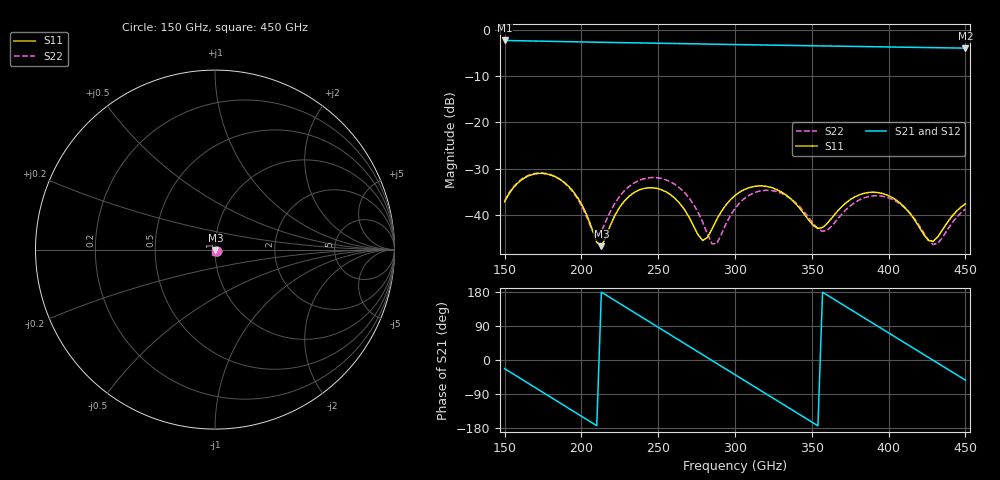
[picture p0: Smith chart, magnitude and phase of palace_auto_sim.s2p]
#  GHZ S DB R 50
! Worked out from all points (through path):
!   101 points, 150 GHz to 450 GHz, reference 50 ohm
!   highest |S21| = -2.31 dB at 150 GHz (marker M1); lowest = -4.0 dB at 450 GHz (marker M2)
!   group delay of S21, straight-line fit = 6.95 ps
!   lowest |S11| = -46.8 dB at 213 GHz (marker M3), VSWR 1.01, Z = 50.2 - j0.416 ohm
!   |S11| at or under -10 dB: start of sweep to end of sweep
!   |S22| runs from -46.4 to -30.9 dB; largest |S21 - S12| = 1.2e-13
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150  -37.15 -22.9  -2.31 -22.8  -2.31 -22.8  -36.96 -23.5
162  -32.21 -41.4  -2.39 -52.9  -2.39 -52.9  -32.07 -41.7
177  -31.13 -72.9  -2.49 -90.6  -2.49 -90.6  -31.05 -72.7
189  -33.03 -97.5  -2.56 -120.7  -2.56 -120.7  -33.09 -96.3
201  -38.25 -114.9  -2.64 -150.8  -2.64 -150.8  -38.67 -108.9
210  -45.90 -93.5  -2.69 -173.4  -2.69 -173.4  -44.64 -71.5
213  -46.76 -64.6  -2.71 179.1  -2.71 179.1  -43.59 -48.7
231  -36.00 -40.1  -2.81 134.0  -2.81 134.0  -33.87 -43.7
252  -34.55 -79.2  -2.93 81.3  -2.93 81.3  -32.12 -85.1
267  -38.83 -100.7  -3.01 43.8  -3.01 43.8  -35.12 -113.8
279  -45.53 -69.9  -3.08 13.8  -3.08 13.8  -41.61 -122.3
288  -41.07 -31.9  -3.13 -8.8  -3.13 -8.8  -46.27 -71.5
300  -35.81 -40.8  -3.20 -38.7  -3.20 -38.7  -38.61 -47.4
312  -33.88 -61.9  -3.26 -68.7  -3.26 -68.7  -35.28 -65.2
324  -34.13 -83.9  -3.32 -98.7  -3.32 -98.7  -34.76 -86.9
351  -42.28 -95.1  -3.46 -166.2  -3.46 -166.2  -41.88 -109.6
360  -41.87 -64.3  -3.51 171.3  -3.51 171.3  -43.33 -80.3
381  -35.65 -72.3  -3.62 118.9  -3.62 118.9  -36.76 -76.2
402  -36.19 -108.4  -3.73 66.5  -3.73 66.5  -36.58 -111.7
417  -41.10 -123.6  -3.81 29.1  -3.81 29.1  -40.87 -130.0
429  -45.72 -87.7  -3.87 -0.8  -3.87 -0.8  -46.40 -104.3
450  -37.62 -73.3  -3.97 -53.1  -3.97 -53.1  -38.72 -77.3
